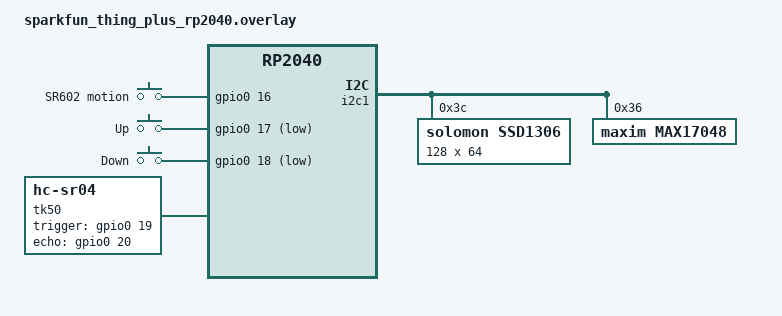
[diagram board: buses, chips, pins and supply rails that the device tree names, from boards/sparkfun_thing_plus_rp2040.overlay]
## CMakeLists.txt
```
# SPDX-License-Identifier: Apache-2.0

cmake_minimum_required(VERSION 3.20.0)

list(APPEND BOARD_ROOT ${CMAKE_CURRENT_SOURCE_DIR}/../../manifest)

find_package(Zephyr REQUIRED HINTS $ENV{ZEPHYR_BASE})
project(parking_sensor)

target_sources(app PRIVATE src/main.c)
```

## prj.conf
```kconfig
CONFIG_LED_STRIP=y

CONFIG_DISPLAY=y
CONFIG_CHARACTER_FRAMEBUFFER=y
CONFIG_HEAP_MEM_POOL_SIZE=16384

CONFIG_FUEL_GAUGE=y

CONFIG_SENSOR=y

CONFIG_INPUT=y

CONFIG_FLASH=y
CONFIG_FLASH_PAGE_LAYOUT=y
CONFIG_FLASH_MAP=y
CONFIG_NVS=y
```

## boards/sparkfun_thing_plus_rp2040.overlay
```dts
/*
 * SPDX-License-Identifier: Apache-2.0
 *
 * SSD1306 128x64 I2C OLED on the Qwiic connector (GP6/GP7, i2c1).
 * SR602 PIR motion sensor OUT pin on GP16 (header J8, pin 4 - free,
 * per the Eagle netlist in boards/RP2040_Thing_Plus_Schematic.pdf).
 * UP/DOWN tactile buttons on GP17/GP18 (J8, pins 5-6), other leg to GND.
 * TK50 ultrasonic sensor in GPIO mode (J1/J2 both open): TRIG on GP19,
 * ECHO on GP20 - next free header pins after the motion/button pair.
 */

#include <zephyr/dt-bindings/input/input-event-codes.h>

/ {
	chosen {
		zephyr,display = &ssd1306;
	};

	motion_sensor: motion_sensor {
		compatible = "gpio-keys";

		motion0: motion_0 {
			gpios = <&gpio0 16 GPIO_ACTIVE_HIGH>;
			zephyr,code = <INPUT_KEY_WAKEUP>;
			label = "SR602 motion";
		};
	};

	buttons: buttons {
		compatible = "gpio-keys";

		button_up: button_up {
			gpios = <&gpio0 17 (GPIO_ACTIVE_LOW | GPIO_PULL_UP)>;
			zephyr,code = <INPUT_KEY_UP>;
			label = "Up";
		};

		button_down: button_down {
			gpios = <&gpio0 18 (GPIO_ACTIVE_LOW | GPIO_PULL_UP)>;
			zephyr,code = <INPUT_KEY_DOWN>;
			label = "Down";
		};
	};

	tk50: tk50 {
		compatible = "hc-sr04";
		trigger-gpios = <&gpio0 19 GPIO_ACTIVE_HIGH>;
		echo-gpios = <&gpio0 20 GPIO_ACTIVE_HIGH>;
	};
};

/* Shrink the code partition to make room for an NVS storage partition
 * to persist the user-configured stop distance across reboots.
 */
&code_partition {
	reg = <0x100 (DT_SIZE_M(16) - 0x100 - DT_SIZE_K(16))>;
};

&flash0 {
	partitions {
		storage_partition: partition@ffc000 {
			compatible = "zephyr,mapped-partition";
			label = "storage";
			reg = <(DT_SIZE_M(16) - DT_SIZE_K(16)) DT_SIZE_K(16)>;
		};
	};
};

&i2c1 {
	ssd1306: ssd1306@3c {
		compatible = "solomon,ssd1306";
		reg = <0x3c>;
		width = <128>;
		height = <64>;
		segment-offset = <0>;
		page-offset = <0>;
		display-offset = <0>;
		multiplex-ratio = <63>;
		segment-remap;
		com-invdir;
		prechargep = <0x22>;
	};

	max17048: max17048@36 {
		compatible = "maxim,max17048";
		reg = <0x36>;
	};
};
```

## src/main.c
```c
#include <stdio.h>
#include <stdbool.h>
#include <zephyr/kernel.h>
#include <zephyr/device.h>
#include <zephyr/drivers/flash.h>
#include <zephyr/drivers/led_strip.h>
#include <zephyr/drivers/display.h>
#include <zephyr/drivers/fuel_gauge.h>
#include <zephyr/drivers/sensor.h>
#include <zephyr/display/cfb.h>
#include <zephyr/input/input.h>
#include <zephyr/kvss/nvs.h>
#include <zephyr/storage/flash_map.h>
#include <zephyr/sys/atomic.h>
#include <zephyr/sys/util.h>

#define STRIP_NODE       DT_ALIAS(led_strip)
#define STRIP_NUM_PIXELS DT_PROP(STRIP_NODE, chain_length)
#define DISPLAY_NODE     DT_CHOSEN(zephyr_display)
#define FUEL_GAUGE_NODE  DT_NODELABEL(max17048)
#define DISTANCE_NODE    DT_NODELABEL(tk50)

/* MAX17048 VCELL floats near 0V with no cell attached; a real LiPo's
 * protection circuit cuts off well above this, leaving a wide margin.
 */
#define BATTERY_PRESENT_THRESHOLD_UV 2000000

/* Stop distance is user-editable (see button handling below), in tenths of
 * a foot so each button push moves it by exactly 0.1ft with no rounding
 * drift; it's converted to mm only when compared against a sensor reading.
 * The slow threshold is always this many feet farther than the stop distance.
 */
#define DISTANCE_NEAR_DEFAULT_TENTHS_FT 5
#define DISTANCE_NEAR_MIN_TENTHS_FT     1
#define DISTANCE_NEAR_MAX_TENTHS_FT     60
#define DISTANCE_NEAR_STEP_TENTHS_FT    1
#define DISTANCE_SLOW_OFFSET_TENTHS_FT  20

#define LOOP_DELAY K_MSEC(200)

/* How long to stay active after the SR602's OUT pin drops low. */
#define MOTION_HOLD_MS 10000

/* How long to wait after a single button press before treating it as a
 * single up/down step, so a two-button chord isn't seen as a step + toggle.
 */
#define COMBO_WINDOW_MS 150

#define NVS_ID_DISTANCE_NEAR_TENTHS_FT 1

enum app_mode {
	MODE_NORMAL = 0,
	MODE_EDIT,
};

struct color_step {
	struct led_rgb rgb;
	const char *label;
};

static const struct color_step steps[] = {
	{ { .r = 0x22, .g = 0x00, .b = 0x00 }, "STOP" },
	{ { .r = 0x11, .g = 0x11, .b = 0x00 }, "SLOW" },
	{ { .r = 0x00, .g = 0x22, .b = 0x00 }, "CLEAR" },
};

static const struct led_rgb edit_rgb = { .r = 0x00, .g = 0x00, .b = 0x22 };

static const struct device *const strip = DEVICE_DT_GET(STRIP_NODE);
static const struct device *const display = DEVICE_DT_GET(DISPLAY_NODE);
static const struct device *const fuel_gauge = DEVICE_DT_GET(FUEL_GAUGE_NODE);
static const struct device *const distance_sensor = DEVICE_DT_GET(DISTANCE_NODE);

static struct nvs_fs nvs;
static int32_t distance_near_tenths_ft = DISTANCE_NEAR_DEFAULT_TENTHS_FT;

/* SR602 PIR sensor: OUT stays high for the duration of the sensor's own
 * retriggerable hold time, so its level doubles as our active/idle state.
 */
static K_SEM_DEFINE(wake_sem, 0, 1);
static atomic_t motion_active = ATOMIC_INIT(0);
static atomic_t app_mode = ATOMIC_INIT(MODE_NORMAL);

static bool up_held;
static bool down_held;

static void save_distance_near_tenths_ft(void)
{
	nvs_write(&nvs, NVS_ID_DISTANCE_NEAR_TENTHS_FT, &distance_near_tenths_ft,
		  sizeof(distance_near_tenths_ft));
}

static void toggle_edit_mode(void)
{
	if (atomic_get(&app_mode) == MODE_NORMAL) {
		atomic_set(&app_mode, MODE_EDIT);
		k_sem_give(&wake_sem);
	} else {
		atomic_set(&app_mode, MODE_NORMAL);
		save_distance_near_tenths_ft();
	}
}

static void up_work_handler(struct k_work *work)
{
	ARG_UNUSED(work);

	if (atomic_get(&app_mode) == MODE_EDIT) {
		distance_near_tenths_ft = MIN(distance_near_tenths_ft + DISTANCE_NEAR_STEP_TENTHS_FT,
					      DISTANCE_NEAR_MAX_TENTHS_FT);
	}
}

static void down_work_handler(struct k_work *work)
{
	ARG_UNUSED(work);

	if (atomic_get(&app_mode) == MODE_EDIT) {
		distance_near_tenths_ft = MAX(distance_near_tenths_ft - DISTANCE_NEAR_STEP_TENTHS_FT,
					      DISTANCE_NEAR_MIN_TENTHS_FT);
	}
}

static K_WORK_DELAYABLE_DEFINE(up_work, up_work_handler);
static K_WORK_DELAYABLE_DEFINE(down_work, down_work_handler);

/* A press while the other button is already held is a chord: cancel any
 * pending single-step action from the first press and toggle edit mode.
 * A press on its own is queued, so a chord's first half doesn't register
 * as a spurious step before the second half arrives.
 */
static void handle_button(bool is_up, bool pressed)
{
	bool other_held = is_up ? down_held : up_held;

	if (is_up) {
		up_held = pressed;
	} else {
		down_held = pressed;
	}

	if (!pressed) {
		return;
	}

	if (other_held) {
		k_work_cancel_delayable(&up_work);
		k_work_cancel_delayable(&down_work);
		toggle_edit_mode();
		return;
	}

	k_work_schedule(is_up ? &up_work : &down_work, K_MSEC(COMBO_WINDOW_MS));
}

static void input_event_cb(struct input_event *evt, void *user_data)
{
	ARG_UNUSED(user_data);

	switch (evt->code) {
	case INPUT_KEY_WAKEUP:
		atomic_set(&motion_active, evt->value);
		if (evt->value) {
			k_sem_give(&wake_sem);
		}
		break;
	case INPUT_KEY_UP:
		handle_button(true, evt->value);
		break;
	case INPUT_KEY_DOWN:
		handle_button(false, evt->value);
		break;
	default:
		break;
	}
}
INPUT_CALLBACK_DEFINE(NULL, input_event_cb, NULL);

static void nvs_setup(void)
{
	struct flash_pages_info info;

	nvs.flash_device = PARTITION_DEVICE(storage_partition);
	nvs.offset = PARTITION_OFFSET(storage_partition);

	if (!device_is_ready(nvs.flash_device) ||
	    flash_get_page_info_by_offs(nvs.flash_device, nvs.offset, &info) != 0) {
		return;
	}

	nvs.sector_size = info.size;
	nvs.sector_count = 4U;

	if (nvs_mount(&nvs) != 0) {
		return;
	}

	nvs_read(&nvs, NVS_ID_DISTANCE_NEAR_TENTHS_FT, &distance_near_tenths_ft,
		 sizeof(distance_near_tenths_ft));
}

static void set_idle_outputs(void)
{
	struct led_rgb pixels[STRIP_NUM_PIXELS] = { 0 };

	led_strip_update_rgb(strip, pixels, STRIP_NUM_PIXELS);
	display_blanking_on(display);
}

static void format_battery_lines(char *line1, size_t len1, char *line2, size_t len2)
{
	union fuel_gauge_prop_val voltage;
	union fuel_gauge_prop_val soc;

	if (!device_is_ready(fuel_gauge) ||
	    fuel_gauge_get_prop(fuel_gauge, FUEL_GAUGE_VOLTAGE, &voltage) != 0 ||
	    voltage.voltage <= BATTERY_PRESENT_THRESHOLD_UV) {
		snprintf(line1, len1, "batt: none");
		line2[0] = '\0';
		return;
	}

	fuel_gauge_get_prop(fuel_gauge, FUEL_GAUGE_RELATIVE_STATE_OF_CHARGE, &soc);
	snprintf(line1, len1, "batt %u%%", soc.relative_state_of_charge);
	snprintf(line2, len2, "%dmV", voltage.voltage / 1000);
}

/* Reads the current range. Returns false (treated as "clear") if the
 * sensor isn't ready or has no valid target in range.
 */
static bool read_distance_mm(int32_t *distance_mm)
{
	struct sensor_value value;

	if (!device_is_ready(distance_sensor) || sensor_sample_fetch(distance_sensor) != 0) {
		return false;
	}

	sensor_channel_get(distance_sensor, SENSOR_CHAN_DISTANCE, &value);
	*distance_mm = (int32_t)sensor_value_to_milli(&value);
	return true;
}

static const struct color_step *band_for_distance(bool valid, int32_t distance_mm,
						   int32_t near_mm, int32_t mid_mm)
{
	if (!valid || distance_mm > mid_mm) {
		return &steps[2];
	}
	if (distance_mm > near_mm) {
		return &steps[1];
	}
	return &steps[0];
}

/* 1 ft = 304.8 mm. Uses integer math only, since printf float support
 * isn't enabled.
 */
static int32_t tenths_ft_to_mm(int32_t tenths_ft)
{
	return (tenths_ft * 3048) / 100;
}

static void format_tenths_ft(char *buf, size_t len, int32_t tenths_ft)
{
	snprintf(buf, len, "%d.%d ft", tenths_ft / 10, tenths_ft % 10);
}

static void format_feet(char *buf, size_t len, int32_t mm)
{
	format_tenths_ft(buf, len, (mm * 100 + 1524) / 3048);
}

static void render_edit_screen(uint8_t font_height, int32_t near_tenths_ft)
{
	struct led_rgb pixels[STRIP_NUM_PIXELS];
	char value[16];
	char line[24];

	for (size_t p = 0; p < STRIP_NUM_PIXELS; p++) {
		pixels[p] = edit_rgb;
	}
	led_strip_update_rgb(strip, pixels, STRIP_NUM_PIXELS);

	format_tenths_ft(value, sizeof(value), near_tenths_ft);

	cfb_framebuffer_clear(display, false);
	cfb_print(display, "EDIT", 0, 0);
	snprintf(line, sizeof(line), "stop %s", value);
	cfb_print(display, line, 0, font_height);
	cfb_framebuffer_finalize(display);
}

int main(void)
{
	struct led_rgb pixels[STRIP_NUM_PIXELS];
	uint8_t font_width;
	uint8_t font_height;
	char distance_line[16];
	char battery_line1[16];
	char battery_line2[16];

	if (!device_is_ready(strip) || !device_is_ready(display)) {
		return 0;
	}

	if (display_set_pixel_format(display, PIXEL_FORMAT_MONO10) != 0 &&
	    display_set_pixel_format(display, PIXEL_FORMAT_MONO01) != 0) {
		return 0;
	}

	if (cfb_framebuffer_init(display)) {
		return 0;
	}

	cfb_get_font_size(display, 0, &font_width, &font_height);

	nvs_setup();

	set_idle_outputs();

	while (1) {
		/* Idle: everything off, thread blocked until motion or a
		 * button chord wakes it.
		 */
		k_sem_take(&wake_sem, K_FOREVER);
		display_blanking_off(display);

		/* Active: run the sense/display/LED loop while the SR602's
		 * OUT pin is asserted, plus a hold period after it drops
		 * low. Renewed motion cancels the hold. Edit mode stays
		 * active regardless of motion until the buttons exit it.
		 */
		int64_t idle_deadline = 0;

		while (true) {
			if (atomic_get(&app_mode) == MODE_EDIT) {
				idle_deadline = 0;
				render_edit_screen(font_height, distance_near_tenths_ft);
				k_sleep(LOOP_DELAY);
				continue;
			}

			if (atomic_get(&motion_active)) {
				idle_deadline = 0;
			} else if (idle_deadline == 0) {
				idle_deadline = k_uptime_get() + MOTION_HOLD_MS;
			} else if (k_uptime_get() >= idle_deadline) {
				break;
			}

			int32_t distance_mm = 0;
			bool valid = read_distance_mm(&distance_mm);
			int32_t near_mm = tenths_ft_to_mm(distance_near_tenths_ft);
			int32_t mid_mm = tenths_ft_to_mm(distance_near_tenths_ft +
							  DISTANCE_SLOW_OFFSET_TENTHS_FT);
			const struct color_step *band =
				band_for_distance(valid, distance_mm, near_mm, mid_mm);

			for (size_t p = 0; p < STRIP_NUM_PIXELS; p++) {
				pixels[p] = band->rgb;
			}
			led_strip_update_rgb(strip, pixels, STRIP_NUM_PIXELS);

			if (valid) {
				format_feet(distance_line, sizeof(distance_line), distance_mm);
			} else {
				snprintf(distance_line, sizeof(distance_line), "-- ft");
			}
			format_battery_lines(battery_line1, sizeof(battery_line1),
					     battery_line2, sizeof(battery_line2));

			cfb_framebuffer_clear(display, false);
			cfb_print(display, band->label, 0, 0);
			cfb_print(display, distance_line, 0, font_height);
			cfb_print(display, battery_line1, 0, 2 * font_height);
			cfb_print(display, battery_line2, 0, 3 * font_height);
			cfb_framebuffer_finalize(display);

			k_sleep(LOOP_DELAY);
		}

		set_idle_outputs();
	}

	return 0;
}
```
